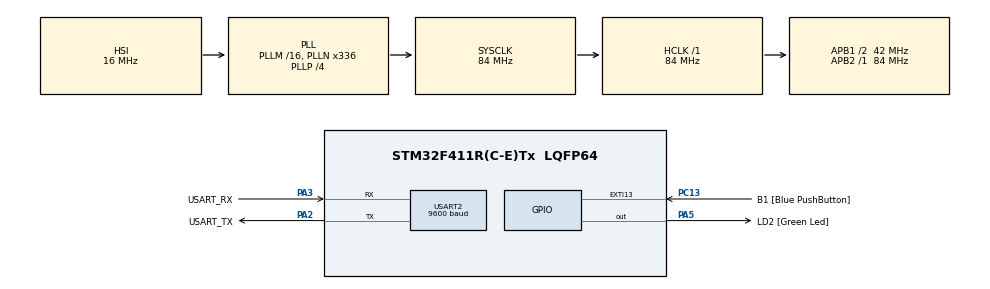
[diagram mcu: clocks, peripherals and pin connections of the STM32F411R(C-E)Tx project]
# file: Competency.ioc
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ADC1.Channel-0\#ChannelRegularConversion=ADC_CHANNEL_TEMPSENSOR
ADC1.NbrOfConversionFlag=1
ADC1.Rank-0\#ChannelRegularConversion=1
ADC1.SamplingTime-0\#ChannelRegularConversion=ADC_SAMPLETIME_3CYCLES
ADC1.master=1
Mcu.Family=STM32F4
Mcu.Name=STM32F411R(C-E)Tx
Mcu.Package=LQFP64
NVIC.PriorityGroup=NVIC_PRIORITYGROUP_0
PA13.GPIO_Label=TMS
PA13.Mode=Serial_Wire
PA13.Signal=SYS_JTMS-SWDIO
PA14.GPIO_Label=TCK
PA14.Mode=Serial_Wire
PA14.Signal=SYS_JTCK-SWCLK
PA2.GPIO_Label=USART_TX
PA2.Mode=Asynchronous
PA2.Signal=USART2_TX
PA3.GPIO_Label=USART_RX
PA3.Mode=Asynchronous
PA3.Signal=USART2_RX
PA5.GPIO_Label=LD2 [Green Led]
PA5.Signal=GPIO_Output
PB3.GPIO_Label=SWO
PB3.Signal=SYS_JTDO-SWO
PC13-ANTI_TAMP.GPIO_Label=B1 [Blue PushButton]
PC13-ANTI_TAMP.GPIO_ModeDefaultEXTI=GPIO_MODE_IT_FALLING
PC13-ANTI_TAMP.Signal=GPXTI13
PC14-OSC32_IN.Mode=LSE-External-Oscillator
PC14-OSC32_IN.Signal=RCC_OSC32_IN
PC15-OSC32_OUT.Mode=LSE-External-Oscillator
PC15-OSC32_OUT.Signal=RCC_OSC32_OUT
PH0\ -\ OSC_IN.Mode=HSE-External-Clock-Source
PH0\ -\ OSC_IN.Signal=RCC_OSC_IN
PH1\ -\ OSC_OUT.Mode=HSE-External-Clock-Source
PH1\ -\ OSC_OUT.Signal=RCC_OSC_OUT
ProjectManager.HeapSize=0x200
ProjectManager.StackSize=0x400
ProjectManager.TargetToolchain=STM32CubeIDE
RCC.48MHZClocksFreq_Value=84000000
RCC.AHBFreq_Value=84000000
RCC.APB1CLKDivider=RCC_HCLK_DIV2
RCC.APB1Freq_Value=42000000
RCC.APB1TimFreq_Value=84000000
RCC.APB2Freq_Value=84000000
RCC.APB2TimFreq_Value=84000000
RCC.CortexFreq_Value=84000000
RCC.FLatency-AdvancedSettings=FLASH_LATENCY_2
RCC.HCLKFreq_Value=84000000
RCC.HSE_VALUE=8000000
RCC.HSI_VALUE=16000000
RCC.PLLN=336
RCC.PLLP=RCC_PLLP_DIV4
RCC.SYSCLKFreq_VALUE=84000000
RCC.SYSCLKSource=RCC_SYSCLKSOURCE_PLLCLK
RCC.VCOOutputFreq_Value=336000000
USART2.BaudRate=9600
USART2.VirtualMode=VM_ASYNC
VP_ADC1_TempSens_Input.Mode=IN-TempSens
board=NUCLEO-F411RE

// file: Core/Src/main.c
/* USER CODE BEGIN Header */
/**
 ******************************************************************************
 * @file           : main.c
 * @brief          : Main program body
 ******************************************************************************
 * @attention
 *
 * <h2><center>&copy; Copyright (c) 2021 STMicroelectronics.
 * All rights reserved.</center></h2>
 *
 * This software component is licensed by ST under BSD 3-Clause license,
 * the "License"; You may not use this file except in compliance with the
 * License. You may obtain a copy of the License at:
 *                        opensource.org/licenses/BSD-3-Clause
 *
 ******************************************************************************
 */
/* USER CODE END Header */
#include "main.h"

/* USER CODE BEGIN Includes */
#include <stdio.h>
#include <string.h>
/* USER CODE END Includes */

 ADC_HandleTypeDef hadc1;

UART_HandleTypeDef huart2;

/* USER CODE BEGIN PV */
char var1[32] =
{ 0 };
char var2[32] =
{ 0 };
typedef struct
{
	ADC_ChannelConfTypeDef Config;
	uint16_t data;
}ADCStructure;
ADCStructure ADCChannel[3];
/* USER CODE END PV */

void SystemClock_Config(void);
static void MX_GPIO_Init(void);
static void MX_USART2_UART_Init(void);
static void MX_ADC1_Init(void);
/* USER CODE BEGIN PFP */
void UARTRecieveAndResponsePolling();
int16_t UARTRecieveIT();
void ADCTemperature();
void ADCConfigInit();
/* USER CODE END PFP */

int main(void)
{

  /* MCU Configuration--------------------------------------------------------*/

  /* Reset of all peripherals, Initializes the Flash interface and the Systick. */
  HAL_Init();

  /* Configure the system clock */
  SystemClock_Config();

  /* Initialize all configured peripherals */
  MX_GPIO_Init();
  MX_USART2_UART_Init();
  MX_ADC1_Init();
  /* USER CODE BEGIN 2 */
  {
  char temp[]="เลือ�?  Function a หรือ Function b";
  HAL_UART_Transmit(&huart2, (uint8_t*)temp, strlen(temp),10);
  }
  /* USER CODE END 2 */

  /* Infinite loop */
  /* USER CODE BEGIN WHILE */
	while (1)
	{
		/*Method 1 Polling Mode*/

//		UARTRecieveAndResponsePolling();

		/*Method 2 Interrupt Mode*/
		HAL_UART_Receive_IT(&huart2,  (uint8_t*)var1, 32);
		HAL_UART_Receive_IT(&huart2,  (uint8_t*)var2, 32);

		/*Method 2 W/ 1 Char Received*/
//		int16_t inputchar = UARTRecieveIT();
//		if(inputchar!=-1)
//		{

//			sprintf(var1, "ReceivedChar:[%c]\r\n", inputchar);
//			HAL_UART_Transmit(&huart2, (uint8_t*)var1, strlen(var1), 1000);
//		}

		/*This section just simmulate Work Load*/
		HAL_Delay(100);
    /* USER CODE END WHILE */

    /* USER CODE BEGIN 3 */
	}
  ADCTemperature();
  /* USER CODE END 3 */
}

void SystemClock_Config(void)
{
  RCC_OscInitTypeDef RCC_OscInitStruct = {0};
  RCC_ClkInitTypeDef RCC_ClkInitStruct = {0};

  /** Configure the main internal regulator output voltage
  */
  __HAL_RCC_PWR_CLK_ENABLE();
  __HAL_PWR_VOLTAGESCALING_CONFIG(PWR_REGULATOR_VOLTAGE_SCALE1);

  /** Initializes the RCC Oscillators according to the specified parameters
  * in the RCC_OscInitTypeDef structure.
  */
  RCC_OscInitStruct.OscillatorType = RCC_OSCILLATORTYPE_HSI;
  RCC_OscInitStruct.HSIState = RCC_HSI_ON;
  RCC_OscInitStruct.HSICalibrationValue = RCC_HSICALIBRATION_DEFAULT;
  RCC_OscInitStruct.PLL.PLLState = RCC_PLL_ON;
  RCC_OscInitStruct.PLL.PLLSource = RCC_PLLSOURCE_HSI;
  RCC_OscInitStruct.PLL.PLLM = 16;
  RCC_OscInitStruct.PLL.PLLN = 336;
  RCC_OscInitStruct.PLL.PLLP = RCC_PLLP_DIV4;
  RCC_OscInitStruct.PLL.PLLQ = 4;
  if (HAL_RCC_OscConfig(&RCC_OscInitStruct) != HAL_OK)
  {
    Error_Handler();
  }

  /** Initializes the CPU, AHB and APB buses clocks
  */
  RCC_ClkInitStruct.ClockType = RCC_CLOCKTYPE_HCLK|RCC_CLOCKTYPE_SYSCLK
                              |RCC_CLOCKTYPE_PCLK1|RCC_CLOCKTYPE_PCLK2;
  RCC_ClkInitStruct.SYSCLKSource = RCC_SYSCLKSOURCE_PLLCLK;
  RCC_ClkInitStruct.AHBCLKDivider = RCC_SYSCLK_DIV1;
  RCC_ClkInitStruct.APB1CLKDivider = RCC_HCLK_DIV2;
  RCC_ClkInitStruct.APB2CLKDivider = RCC_HCLK_DIV1;

  if (HAL_RCC_ClockConfig(&RCC_ClkInitStruct, FLASH_LATENCY_2) != HAL_OK)
  {
    Error_Handler();
  }
}

static void MX_ADC1_Init(void)
{

  ADC_ChannelConfTypeDef sConfig = {0};

  /** Configure the global features of the ADC (Clock, Resolution, Data Alignment and number of conversion)
  */
  hadc1.Instance = ADC1;
  hadc1.Init.ClockPrescaler = ADC_CLOCK_SYNC_PCLK_DIV4;
  hadc1.Init.Resolution = ADC_RESOLUTION_12B;
  hadc1.Init.ScanConvMode = DISABLE;
  hadc1.Init.ContinuousConvMode = DISABLE;
  hadc1.Init.DiscontinuousConvMode = DISABLE;
  hadc1.Init.ExternalTrigConvEdge = ADC_EXTERNALTRIGCONVEDGE_NONE;
  hadc1.Init.ExternalTrigConv = ADC_SOFTWARE_START;
  hadc1.Init.DataAlign = ADC_DATAALIGN_RIGHT;
  hadc1.Init.NbrOfConversion = 1;
  hadc1.Init.DMAContinuousRequests = DISABLE;
  hadc1.Init.EOCSelection = ADC_EOC_SINGLE_CONV;
  if (HAL_ADC_Init(&hadc1) != HAL_OK)
  {
    Error_Handler();
  }

  /** Configure for the selected ADC regular channel its corresponding rank in the sequencer and its sample time.
  */
  sConfig.Channel = ADC_CHANNEL_TEMPSENSOR;
  sConfig.Rank = 1;
  sConfig.SamplingTime = ADC_SAMPLETIME_3CYCLES;
  if (HAL_ADC_ConfigChannel(&hadc1, &sConfig) != HAL_OK)
  {
    Error_Handler();
  }

}

static void MX_USART2_UART_Init(void)
{

  huart2.Instance = USART2;
  huart2.Init.BaudRate = 9600;
  huart2.Init.WordLength = UART_WORDLENGTH_8B;
  huart2.Init.StopBits = UART_STOPBITS_1;
  huart2.Init.Parity = UART_PARITY_NONE;
  huart2.Init.Mode = UART_MODE_TX_RX;
  huart2.Init.HwFlowCtl = UART_HWCONTROL_NONE;
  huart2.Init.OverSampling = UART_OVERSAMPLING_16;
  if (HAL_UART_Init(&huart2) != HAL_OK)
  {
    Error_Handler();
  }

}

static void MX_GPIO_Init(void)
{
  GPIO_InitTypeDef GPIO_InitStruct = {0};

  /* GPIO Ports Clock Enable */
  __HAL_RCC_GPIOC_CLK_ENABLE();
  __HAL_RCC_GPIOH_CLK_ENABLE();
  __HAL_RCC_GPIOA_CLK_ENABLE();
  __HAL_RCC_GPIOB_CLK_ENABLE();

  /*Configure GPIO pin Output Level */
  HAL_GPIO_WritePin(LD2_GPIO_Port, LD2_Pin, GPIO_PIN_RESET);

  /*Configure GPIO pin : B1_Pin */
  GPIO_InitStruct.Pin = B1_Pin;
  GPIO_InitStruct.Mode = GPIO_MODE_IT_FALLING;
  GPIO_InitStruct.Pull = GPIO_NOPULL;
  HAL_GPIO_Init(B1_GPIO_Port, &GPIO_InitStruct);

  /*Configure GPIO pin : LD2_Pin */
  GPIO_InitStruct.Pin = LD2_Pin;
  GPIO_InitStruct.Mode = GPIO_MODE_OUTPUT_PP;
  GPIO_InitStruct.Pull = GPIO_NOPULL;
  GPIO_InitStruct.Speed = GPIO_SPEED_FREQ_LOW;
  HAL_GPIO_Init(LD2_GPIO_Port, &GPIO_InitStruct);

}

/* USER CODE BEGIN 4 */
void UARTRecieveAndResponsePolling()
{
	char Recieve[32]={0};

	HAL_UART_Receive(&huart2, (uint8_t*)Recieve, 32, 1000);

	sprintf(var1, "Received:[%s]\r\n", Recieve);
	HAL_UART_Transmit(&huart2, (uint8_t*)var1, strlen(var1), 1000);

}

int16_t UARTRecieveIT()
{
	static uint32_t dataPos =0;
	int16_t data=-1;
	if(huart2.RxXferSize - huart2.RxXferCount!=dataPos)
	{
		data=var2[dataPos];
		dataPos= (dataPos+1)%huart2.RxXferSize;
	}
	return data;
}

void HAL_UART_RxCpltCallback(UART_HandleTypeDef *huart)
{
	sprintf(var1, "Received:[%s]\r\n", var2);
	HAL_UART_Transmit(&huart2, (uint8_t*)var1, strlen(var1), 1000);
}

void ADCTemperature()
{

	HAL_ADC_ConfigChannel(&hadc1, &ADCChannel.sConfig);

	HAL_ADC_Start(&hadc1);

	HAL_ADC_PollForConversion(&hadc1, 10);

	ADCChannel.data = HAL_ADC_Getvalue(&hadc1);

	HAL_ADC_Stop(&hadc1);
}
/* USER CODE END 4 */

void Error_Handler(void)
{
	__disable_irq();
	while (1)
	{
	}
}
